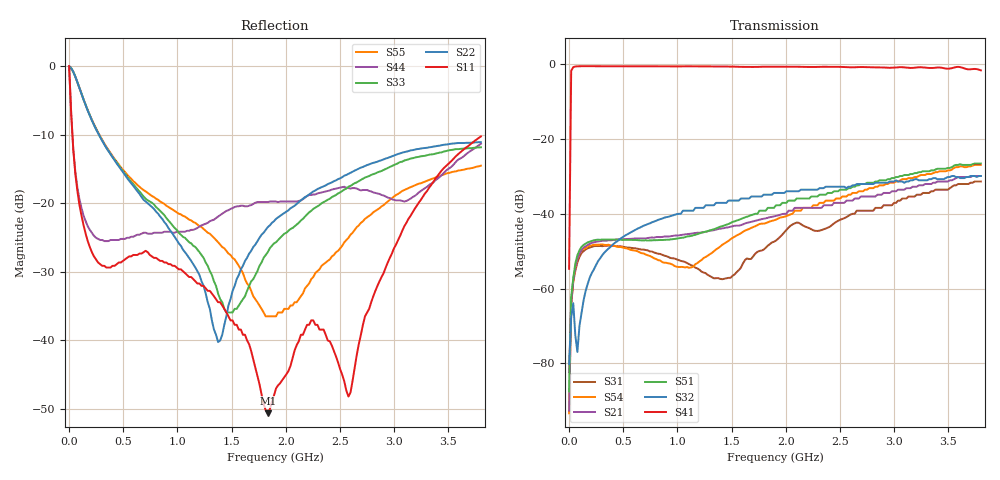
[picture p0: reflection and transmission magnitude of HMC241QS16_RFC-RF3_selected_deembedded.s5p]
!Hittite Microwave Corporation
!12 Elizabeth Drive
!Chelmsford, MA 01824
!Tel: 978-250-3343
!Fax: 978-250-3373
!Device: HMC241QS16, DC-3.5 GHz GaAs MMIC SP4T Non-Reflective Switch in 16 lead QSOP package
!Misc: Port 1 = RFC, Port 2 = RF1, Port 3 = RF2. Port 4 = RF3, Port 5 = RF 4, RF3 Selected, Bias: +5VDC, DEEMBEDDED TO THE PINS OF THE DEVICE
# MHZ S MA R 50
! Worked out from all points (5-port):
!   200 points, 10 kHz to 3.8 GHz, reference 50 ohm
!   strongest paths, dB at 10 kHz, 954.8 MHz, 1.91 GHz, 2.864 GHz, 3.8 GHz:
!     S41: -54.7, -0.6, -0.7, -0.9, -1.7
!     S32: -80.1, -40.4, -34.4, -31.7, -29.9
!     S51: -87.5, -46.8, -37.7, -31.1, -26.6
!     S21: -92.6, -45.9, -40.6, -34.9, -29.9
!     S54: -93.3, -53.6, -41.5, -32.4, -26.9
!     S31: -82.3, -51.9, -47.1, -38.4, -31.4
!   lowest |S11| = -50.6 dB at 1.833 GHz (marker M1), VSWR 1.01, Z = 49.8 + j0.241 ohm
!   |S11| at or under -10 dB: 30.5 MHz to end of sweep
